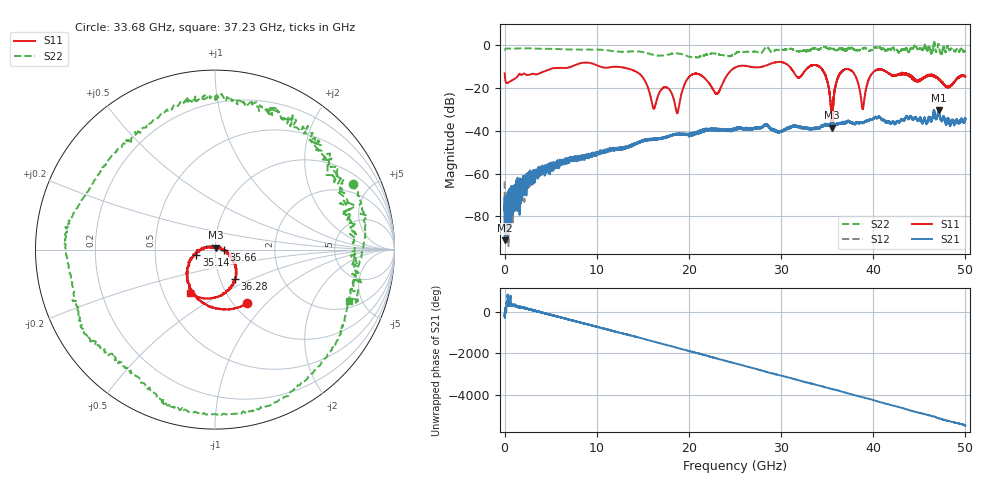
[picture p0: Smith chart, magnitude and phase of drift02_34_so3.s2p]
!Created with skrf (http://scikit-rf.org).
# Hz S RI R 50.0
!freq ReS11 ImS11 ReS21 ImS21 ReS12 ImS12 ReS22 ImS22
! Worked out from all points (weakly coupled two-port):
!   10001 points, 300 kHz to 50 GHz, reference 50 ohm
!   highest |S21| = -30.27 dB at 47.09 GHz (marker M1); lowest = -91.2 dB at 20.3 MHz (marker M2)
!   lowest |S11| = -38.4 dB at 35.53 GHz (marker M3), VSWR 1.02, Z = 50.3 + j1.17 ohm
!   |S11| at or under -10 dB: start of sweep to 7.179 GHz; 12.36 GHz to 25.17 GHz (12.81 GHz wide, 68.3 % of centre); 34.21 GHz to end of sweep (the widest 3 of 15)
!   |S22| runs from -5.7 to 2.4 dB; largest |S21 - S12| = 0.0038
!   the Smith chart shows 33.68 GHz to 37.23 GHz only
!   S11 on the Smith chart (normalised r, x): 33.68 GHz: 1.15, -0.79; 35.14 GHz: 0.81, -0.05; 35.66 GHz: 1.11, -0.00; 36.28 GHz: 1.18, -0.40; 37.23 GHz: 0.68, -0.36
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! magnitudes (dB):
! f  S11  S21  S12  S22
! 300 kHz  -13.0  -74.6  -63.7  -2.1
! 20.3 MHz  -13.8  -91.2  -84.4  -1.9
! 8.335 GHz  -8.2  -53.1  -52.5  -1.9
! 14.01 GHz  -11.7  -45.9  -46.6  -2.8
! 16.15 GHz  -29.3  -44.2  -43.6  -4.5
! 16.67 GHz  -23.3  -43.7  -43.8  -4.7
! 18.74 GHz  -31.7  -41.3  -41.3  -3.7
! 20.24 GHz  -13.9  -42.2  -41.2  -5.5
! 23.03 GHz  -22.6  -39.6  -39.4  -4.1
! 25 GHz  -10.4  -39.1  -38.8  -3.9
! 33.34 GHz  -9.3  -38.8  -38.8  -1.6
! 33.68 GHz  -9.1  -38.9  -38.5  -1.4
! 35.14 GHz  -19.3  -36.8  -37.4  -1.8
! 35.53 GHz  -38.4  -36.9  -36.8  -1.7
! 35.66 GHz  -25.8  -36.7  -36.7  -1.6
! 36.28 GHz  -14.0  -36.4  -36.5  -1.7
! 37.23 GHz  -11.0  -36.0  -35.6  -2.0
! 38.86 GHz  -29.8  -36.2  -35.9  -1.3
! 39.96 GHz  -12.7  -34.3  -34.5  -1.9
! 41.67 GHz  -13.0  -35.5  -35.6  -1.9
! 47.09 GHz  -15.5  -30.3  -30.7  0.8
! 50 GHz  -14.5  -34.6  -34.7  -2.6
